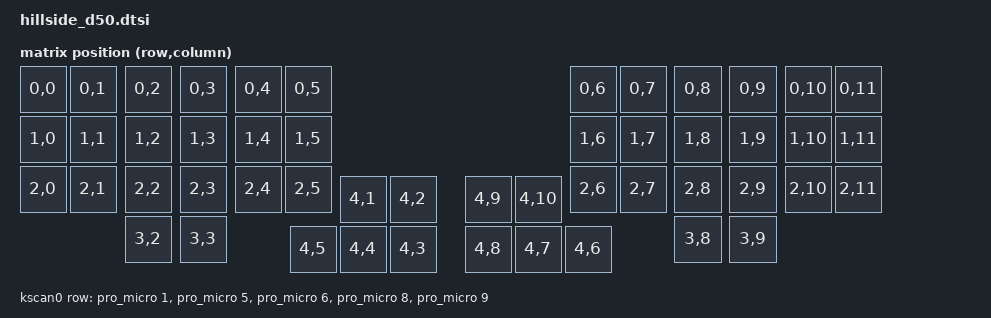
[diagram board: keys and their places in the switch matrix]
#include <dt-bindings/zmk/matrix_transform.h>
#include <physical_layouts.dtsi>

/* Define mapping between hardware grid and logic layout used by keymap.

Define

-   hardware pins used for scan
-   transform

*/

/ {
    chosen {
        zmk,kscan = &kscan0;
        zmk,matrix-transform = &default_transform;
        zmk,physical-layout = &default_layout;
    };

    default_transform: keymap_transform_0 {
        compatible = "zmk,matrix-transform";

        columns = <12>;
        rows = <5>;

// Original Dactyl 50 version   -  Comment part still needs update, but seems to not matter.)
// | SW1  | SW2  | SW3  | SW4  | SW5  | SW6  |                                   | SW6  | SW5  | SW4  | SW3  | SW2  | SW1  |
// | SW7  | SW8  | SW9  | SW10 | SW11 | SW12 |                                   | SW12 | SW11 | SW10 | SW9  | SW8  | SW7  |
// | SW13 | SW14 | SW15 | SW16 | SW17 | SW18   / SW19 / SW20 /   \ SW20 \ SW19 \   SW18 | SW17 | SW16 | SW15 | SW14 | SW13 |
//               | SW21 | SW22          / SW23 / SW24 / SW25 /   \ SW25 \ SW24 \ SW23 \          SW22 | SW21 |
        map = <
RC(0,0) RC(0,1) RC(0,2) RC(0,3) RC(0,4) RC(0,5)                                    RC(0,6) RC(0,7) RC(0,8) RC(0,9) RC(0,10) RC(0,11)
RC(1,0) RC(1,1) RC(1,2) RC(1,3) RC(1,4) RC(1,5)                                    RC(1,6) RC(1,7) RC(1,8) RC(1,9) RC(1,10) RC(1,11)
RC(2,0) RC(2,1) RC(2,2) RC(2,3) RC(2,4) RC(2,5) RC(4,1) RC(4,2)   RC(4,9) RC(4,10) RC(2,6) RC(2,7) RC(2,8) RC(2,9) RC(2,10) RC(2,11)
                RC(3,2) RC(3,3)         RC(4,5) RC(4,4) RC(4,3)   RC(4,8) RC(4,7)  RC(4,6)         RC(3,8) RC(3,9)
        >;
    };

    // Hardware pins for scan: Dactyl 50 alpha.2
    // [Pin references](https://zmk.dev/docs/development/hardware-integration/new-shield#kscan)
    kscan0: kscan {
        compatible = "zmk,kscan-gpio-matrix";
        wakeup-source;
        diode-direction = "col2row";
        row-gpios
            = <&pro_micro 1 (GPIO_ACTIVE_HIGH | GPIO_PULL_DOWN)> // Row 0 from the KiCad schematic
            , <&pro_micro 5 (GPIO_ACTIVE_HIGH | GPIO_PULL_DOWN)> // Row 1 from the KiCad schematic
            , <&pro_micro 6 (GPIO_ACTIVE_HIGH | GPIO_PULL_DOWN)> // Row 2 from the KiCad schematic
            , <&pro_micro 8 (GPIO_ACTIVE_HIGH | GPIO_PULL_DOWN)> // Row 3 from the KiCad schematic
            , <&pro_micro 9 (GPIO_ACTIVE_HIGH | GPIO_PULL_DOWN)> // Row 4 from the KiCad schematic
            ;
    };

    // A physical layout links together a transform, keyscan, and physical keys.
    default_layout: default_layout {
    compatible = "zmk,physical-layout";
    display-name = "Default";
    transform = <&default_transform>;
    kscan = <&kscan0>;
    keys  //                     w   h    x    y     rot    rx    ry
        = <&key_physical_attrs 100 100    0    0       0     0     0>
        , <&key_physical_attrs 100 100  100    0       0     0     0>
        , <&key_physical_attrs 100 100  210    0       0     0     0>
        , <&key_physical_attrs 100 100  320    0       0     0     0>
        , <&key_physical_attrs 100 100  430    0       0     0     0>
        , <&key_physical_attrs 100 100  530    0       0     0     0>
        , <&key_physical_attrs 100 100 1100    0       0     0     0>
        , <&key_physical_attrs 100 100 1200    0       0     0     0>
        , <&key_physical_attrs 100 100 1310    0       0     0     0>
        , <&key_physical_attrs 100 100 1420    0       0     0     0>
        , <&key_physical_attrs 100 100 1530    0       0     0     0>
        , <&key_physical_attrs 100 100 1630    0       0     0     0>


        , <&key_physical_attrs 100 100    0  100       0     0     0>
        , <&key_physical_attrs 100 100  100  100       0     0     0>
        , <&key_physical_attrs 100 100  210  100       0     0     0>
        , <&key_physical_attrs 100 100  320  100       0     0     0>
        , <&key_physical_attrs 100 100  430  100       0     0     0>
        , <&key_physical_attrs 100 100  530  100       0     0     0>
        , <&key_physical_attrs 100 100 1100  100       0     0     0>
        , <&key_physical_attrs 100 100 1200  100       0     0     0>
        , <&key_physical_attrs 100 100 1310  100       0     0     0>
        , <&key_physical_attrs 100 100 1420  100       0     0     0>
        , <&key_physical_attrs 100 100 1530  100       0     0     0>
        , <&key_physical_attrs 100 100 1630  100       0     0     0>


        , <&key_physical_attrs 100 100    0  200       0     0     0>
        , <&key_physical_attrs 100 100  100  200       0     0     0>
        , <&key_physical_attrs 100 100  210  200       0     0     0>
        , <&key_physical_attrs 100 100  320  200       0     0     0>
        , <&key_physical_attrs 100 100  430  200       0     0     0>
        , <&key_physical_attrs 100 100  530  200       0     0     0>

        , <&key_physical_attrs 100 100  640  220       0     0     0>
        , <&key_physical_attrs 100 100  740  220       0     0     0>

        , <&key_physical_attrs 100 100  890  220       0     0     0>
        , <&key_physical_attrs 100 100  990  220       0     0     0>

        , <&key_physical_attrs 100 100 1100  200       0     0     0>
        , <&key_physical_attrs 100 100 1200  200       0     0     0>
        , <&key_physical_attrs 100 100 1310  200       0     0     0>
        , <&key_physical_attrs 100 100 1420  200       0     0     0>
        , <&key_physical_attrs 100 100 1530  200       0     0     0>
        , <&key_physical_attrs 100 100 1630  200       0     0     0>


        , <&key_physical_attrs 100 100  210  300       0     0     0>
        , <&key_physical_attrs 100 100  320  300       0     0     0>

        , <&key_physical_attrs 100 100  540  320       0     0     0>
        , <&key_physical_attrs 100 100  640  320       0     0     0>
        , <&key_physical_attrs 100 100  740  320       0     0     0>

        , <&key_physical_attrs 100 100  890  320       0     0     0>
        , <&key_physical_attrs 100 100  990  320       0     0     0>
        , <&key_physical_attrs 100 100 1090  320       0     0     0>

        , <&key_physical_attrs 100 100 1310  300       0     0     0>
        , <&key_physical_attrs 100 100 1420  300       0     0     0>
        ;
    };
};
